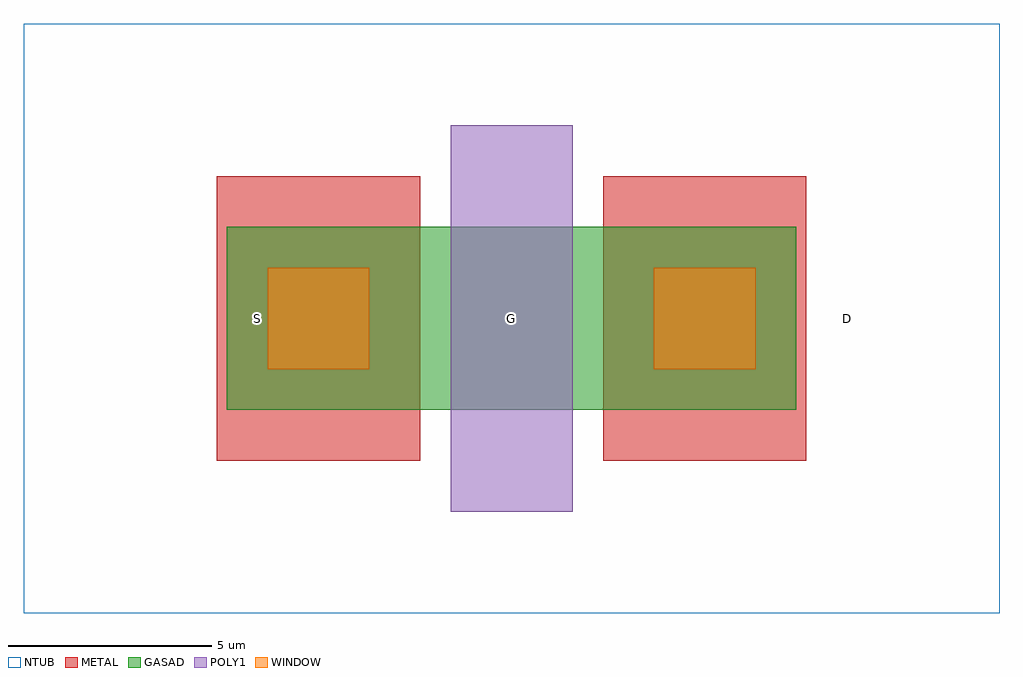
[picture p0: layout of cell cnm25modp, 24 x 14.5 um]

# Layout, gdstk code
import gdstk
lib = gdstk.Library(unit=1e-6, precision=1e-09)
def R(c, l, rs):  # rectangles x0, y0, x1, y1
    for r in rs: c.add(gdstk.rectangle(r[:2], r[2:], *l))
NTUB = (1, 0)
GASAD = (2, 0)
POLY1 = (4, 0)
WINDOW = (6, 0)
METAL = (7, 0)

cnm25modp = lib.new_cell('cnm25modp')
R(cnm25modp, NTUB, [(-10.5,-5,13.5,9.5)])
R(cnm25modp, GASAD, [(-5.5,0,8.5,4.5)])
R(cnm25modp, POLY1, [(0,-2.5,3,7)])
R(cnm25modp, WINDOW, [(-4.5,1,-2,3.5), (5,1,7.5,3.5)])
R(cnm25modp, METAL, [(-5.75,-1.25,-0.75,5.75), (3.75,-1.25,8.75,5.75)])
cnm25modp.add(gdstk.Label('G', (1.5,2.25), layer=20, texttype=0))
cnm25modp.add(gdstk.Label('S', (-4.75,2.25), layer=21, texttype=0))
cnm25modp.add(gdstk.Label('D', (9.75,2.25), layer=21, texttype=0))

lib.write_gds('cnm25modp.gds')
